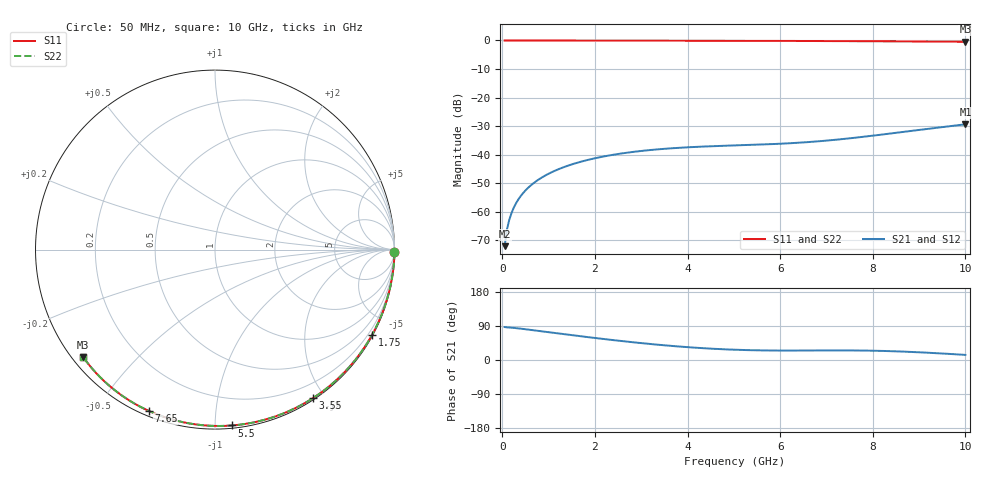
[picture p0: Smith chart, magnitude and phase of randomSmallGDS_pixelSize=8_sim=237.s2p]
! freq	dB(S11)	phase(S11)	dB(S12)	phase(S12)
!  dB(S21)	phase(S21)	dB(S22)	phase(S22)
!S-par simulation data
#  GHz  S  DB  R 50
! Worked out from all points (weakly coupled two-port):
!   200 points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, 50 MHz to 10 GHz, reference 50 ohm
!   highest |S21| = -29.37 dB at 10 GHz (marker M1); lowest = -72.1 dB at 50 MHz (marker M2)
!   lowest |S11| = -0.5 dB at 10 GHz (marker M3), VSWR 37.27, Z = 1.51 - j17.7 ohm
!   |S11| at or under -10 dB: nowhere
!   |S22| runs from -0.5 to 0.0 dB; largest |S21 - S12| = 0
!   S11 on the Smith chart (normalised r, x): 50 MHz: open; 1.75 GHz: 0.03, -3.92; 3.55 GHz: 0.02, -1.86; 5.5 GHz: 0.02, -1.10; 7.65 GHz: 0.02, -0.67; 10 GHz: 0.03, -0.35
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0.05  -0.00 -0.8  -72.05 86.9  -72.05 86.9  -0.00 -0.8
0.1  -0.00 -1.7  -66.27 86.2  -66.27 86.2  -0.00 -1.7
0.15  -0.00 -2.5  -62.85 85.8  -62.85 85.8  -0.00 -2.5
0.2  -0.00 -3.3  -60.40 85.3  -60.40 85.3  -0.00 -3.3
0.25  -0.00 -4.2  -58.49 84.7  -58.49 84.7  -0.00 -4.2
0.35  -0.00 -5.8  -55.60 83.4  -55.60 83.4  -0.00 -5.8
0.5  -0.01 -8.3  -52.54 81.2  -52.54 81.2  -0.01 -8.3
0.7  -0.01 -11.6  -49.67 78.1  -49.67 78.1  -0.01 -11.6
1  -0.02 -16.5  -46.68 73.4  -46.68 73.4  -0.02 -16.5
1.35  -0.03 -22.2  -44.24 67.9  -44.24 67.9  -0.03 -22.2
1.75  -0.04 -28.6  -42.24 61.8  -42.24 61.8  -0.04 -28.6
2.5  -0.05 -40.5  -39.76 51.1  -39.76 51.1  -0.05 -40.5
3.4  -0.07 -54.3  -38.08 39.9  -38.08 39.9  -0.07 -54.3
3.55  -0.08 -56.6  -37.89 38.3  -37.89 38.3  -0.08 -56.6
4.3  -0.10 -67.6  -37.19 31.4  -37.19 31.4  -0.10 -67.6
5.05  -0.12 -78.2  -36.75 27.0  -36.75 27.0  -0.12 -78.2
5.5  -0.14 -84.4  -36.51 25.5  -36.51 25.5  -0.14 -84.4
6.7  -0.19 -100.3  -35.48 25.1  -35.48 25.1  -0.19 -100.3
7.65  -0.25 -112.4  -34.01 25.2  -34.01 25.2  -0.25 -112.4
8.35  -0.30 -121.0  -32.66 23.5  -32.66 23.5  -0.30 -121.0
9.2  -0.38 -131.3  -30.94 19.1  -30.94 19.1  -0.38 -131.3
10  -0.47 -140.9  -29.37 13.5  -29.37 13.5  -0.47 -140.9
